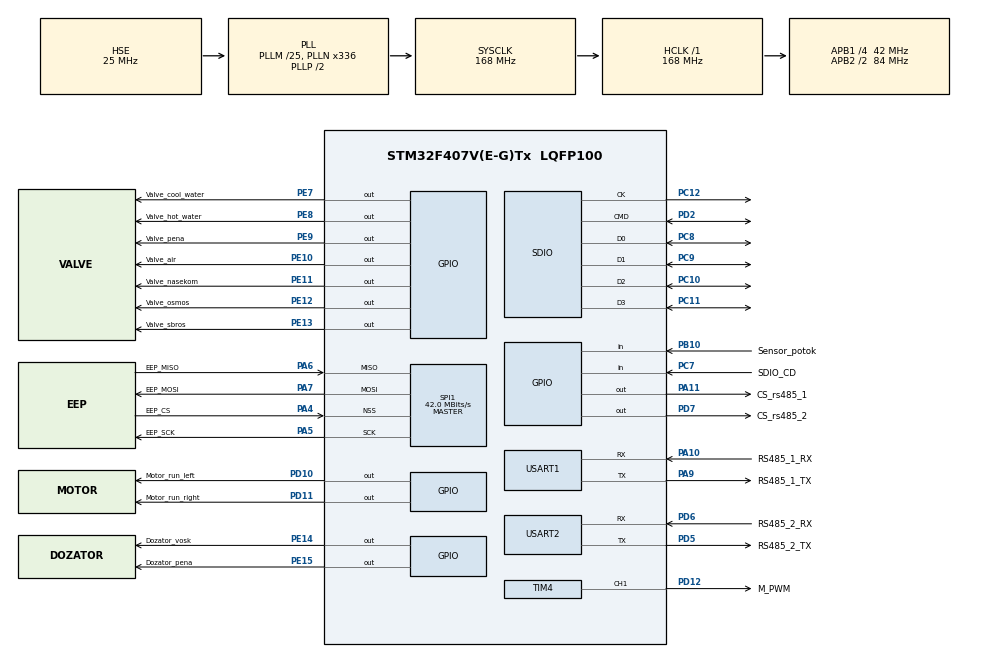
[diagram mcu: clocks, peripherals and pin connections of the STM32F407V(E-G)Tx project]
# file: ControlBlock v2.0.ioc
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FREERTOS.Tasks01=defaultTask,0,1280,MainThred,Default;myTask02,-3,1280,KompObmenThred,Default;myTask03,-3,1280,WorkFuncThred,Default
FREERTOS.configTOTAL_HEAP_SIZE=20000
Mcu.Family=STM32F4
Mcu.Name=STM32F407V(E-G)Tx
Mcu.Package=LQFP100
NVIC.PriorityGroup=NVIC_PRIORITYGROUP_4
NVIC.SDIO_IRQn=true\:5\:0\:false\:false\:true\:true
NVIC.SPI1_IRQn=true\:5\:0\:false\:false\:true\:true
NVIC.TIM6_DAC_IRQn=true\:0\:0\:false\:false\:true\:false
NVIC.TimeBase=TIM6_DAC_IRQn
NVIC.TimeBaseIP=TIM6
NVIC.USART1_IRQn=true\:5\:0\:false\:false\:true\:true
NVIC.USART2_IRQn=true\:5\:0\:false\:false\:true\:true
PA10.GPIO_Label=RS485_1_RX
PA10.Mode=Asynchronous
PA10.Signal=USART1_RX
PA11.GPIO_Label=CS_rs485_1
PA11.Signal=GPIO_Output
PA13.Mode=JTAG_5_pins
PA13.Signal=SYS_JTMS-SWDIO
PA14.Mode=JTAG_5_pins
PA14.Signal=SYS_JTCK-SWCLK
PA15.Mode=JTAG_5_pins
PA15.Signal=SYS_JTDI
PA4.GPIO_Label=EEP_CS
PA4.Mode=NSS_Signal_Hard_Input
PA4.Signal=SPI1_NSS
PA5.GPIO_Label=EEP_SCK
PA5.Mode=Full_Duplex_Master
PA5.Signal=SPI1_SCK
PA6.GPIO_Label=EEP_MISO
PA6.Mode=Full_Duplex_Master
PA6.Signal=SPI1_MISO
PA7.GPIO_Label=EEP_MOSI
PA7.Mode=Full_Duplex_Master
PA7.Signal=SPI1_MOSI
PA9.GPIO_Label=RS485_1_TX
PA9.Mode=Asynchronous
PA9.Signal=USART1_TX
PB10.GPIO_Label=Sensor_potok
PB10.Signal=GPIO_Input
PB3.Mode=JTAG_5_pins
PB3.Signal=SYS_JTDO-SWO
PB4.Mode=JTAG_5_pins
PB4.Signal=SYS_JTRST
PC10.Mode=SD_4_bits_Wide_bus
PC10.Signal=SDIO_D2
PC11.Mode=SD_4_bits_Wide_bus
PC11.Signal=SDIO_D3
PC12.Mode=SD_4_bits_Wide_bus
PC12.Signal=SDIO_CK
PC14-OSC32_IN.Mode=LSE-External-Oscillator
PC14-OSC32_IN.Signal=RCC_OSC32_IN
PC15-OSC32_OUT.Mode=LSE-External-Oscillator
PC15-OSC32_OUT.Signal=RCC_OSC32_OUT
PC7.GPIO_Label=SDIO_CD
PC7.Signal=GPIO_Input
PC8.Mode=SD_4_bits_Wide_bus
PC8.Signal=SDIO_D0
PC9.Mode=SD_4_bits_Wide_bus
PC9.Signal=SDIO_D1
PD10.GPIO_Label=Motor_run_left
PD10.Signal=GPIO_Output
PD11.GPIO_Label=Motor_run_right
PD11.Signal=GPIO_Output
PD12.GPIO_Label=M_PWM
PD12.Signal=S_TIM4_CH1
PD2.Mode=SD_4_bits_Wide_bus
PD2.Signal=SDIO_CMD
PD5.GPIO_Label=RS485_2_TX
PD5.Mode=Asynchronous
PD5.Signal=USART2_TX
PD6.GPIO_Label=RS485_2_RX
PD6.Mode=Asynchronous
PD6.Signal=USART2_RX
PD7.GPIO_Label=CS_rs485_2
PD7.Signal=GPIO_Output
PE10.GPIO_Label=Valve_air
PE10.Signal=GPIO_Output
PE11.GPIO_Label=Valve_nasekom
PE11.Signal=GPIO_Output
PE12.GPIO_Label=Valve_osmos
PE12.Signal=GPIO_Output
PE13.GPIO_Label=Valve_sbros
PE13.Signal=GPIO_Output
PE14.GPIO_Label=Dozator_vosk
PE14.Signal=GPIO_Output
PE15.GPIO_Label=Dozator_pena
PE15.Signal=GPIO_Output
PE7.GPIO_Label=Valve_cool_water
PE7.Signal=GPIO_Output
PE8.GPIO_Label=Valve_hot_water
PE8.Signal=GPIO_Output
PE9.GPIO_Label=Valve_pena
PE9.Signal=GPIO_Output
PH0-OSC_IN.Mode=HSE-External-Oscillator
PH0-OSC_IN.Signal=RCC_OSC_IN
PH1-OSC_OUT.Mode=HSE-External-Oscillator
PH1-OSC_OUT.Signal=RCC_OSC_OUT
ProjectManager.HeapSize=0x200
ProjectManager.StackSize=0x400
ProjectManager.TargetToolchain=MDK-ARM V5
RCC.48MHZClocksFreq_Value=48000000
RCC.AHBFreq_Value=168000000
RCC.APB1CLKDivider=RCC_HCLK_DIV4
RCC.APB1Freq_Value=42000000
RCC.APB1TimFreq_Value=84000000
RCC.APB2CLKDivider=RCC_HCLK_DIV2
RCC.APB2Freq_Value=84000000
RCC.APB2TimFreq_Value=168000000
RCC.CortexFreq_Value=168000000
RCC.HCLKFreq_Value=168000000
RCC.HSE_VALUE=25000000
RCC.HSI_VALUE=16000000
RCC.PLLM=25
RCC.PLLN=336
RCC.PLLQ=7
RCC.PLLSourceVirtual=RCC_PLLSOURCE_HSE
RCC.RCC_RTC_Clock_Source=RCC_RTCCLKSOURCE_LSE
RCC.SYSCLKFreq_VALUE=168000000
RCC.SYSCLKSource=RCC_SYSCLKSOURCE_PLLCLK
RCC.VCOOutputFreq_Value=336000000
SDIO.BusWide=SDIO_BUS_WIDE_1B
SDIO.WideMode=SDIO_BUS_WIDE_4B
SH.S_TIM4_CH1.0=TIM4_CH1,PWM Generation1 CH1
SPI1.BaudRatePrescaler=SPI_BAUDRATEPRESCALER_2
SPI1.CalculateBaudRate=42.0 MBits/s
SPI1.Mode=SPI_MODE_MASTER
SPI1.VirtualNSS=VM_NSSHARD
VP_FREERTOS_VS_ENABLE.Mode=Enabled
VP_RTC_VS_RTC_Activate.Mode=RTC_Enabled
VP_SYS_VS_tim6.Mode=TIM6
board=ControlBlock v2.0

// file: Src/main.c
/**
  ******************************************************************************
  * File Name          : main.c
  * Description        : Main program body
  ******************************************************************************
  *
  * Copyright (c) 2016 STMicroelectronics International N.V.
  * All rights reserved.
  *
  * Redistribution and use in source and binary forms, with or without
  * modification, are permitted, provided that the following conditions are met:
  *
  * 1. Redistribution of source code must retain the above copyright notice,
  *    this list of conditions and the following disclaimer.
  * 2. Redistributions in binary form must reproduce the above copyright notice,
  *    this list of conditions and the following disclaimer in the documentation
  *    and/or other materials provided with the distribution.
  * 3. Neither the name of STMicroelectronics nor the names of other
  *    contributors to this software may be used to endorse or promote products
  *    derived from this software without specific written permission.
  * 4. This software, including modifications and/or derivative works of this
  *    software, must execute solely and exclusively on microcontroller or
  *    microprocessor devices manufactured by or for STMicroelectronics.
  * 5. Redistribution and use of this software other than as permitted under
  *    this license is void and will automatically terminate your rights under
  *    this license.
  *
  * THIS SOFTWARE IS PROVIDED BY STMICROELECTRONICS AND CONTRIBUTORS "AS IS"
  * AND ANY EXPRESS, IMPLIED OR STATUTORY WARRANTIES, INCLUDING, BUT NOT
  * LIMITED TO, THE IMPLIED WARRANTIES OF MERCHANTABILITY, FITNESS FOR A
  * PARTICULAR PURPOSE AND NON-INFRINGEMENT OF THIRD PARTY INTELLECTUAL PROPERTY
  * RIGHTS ARE DISCLAIMED TO THE FULLEST EXTENT PERMITTED BY LAW. IN NO EVENT
  * SHALL STMICROELECTRONICS OR CONTRIBUTORS BE LIABLE FOR ANY DIRECT, INDIRECT,
  * INCIDENTAL, SPECIAL, EXEMPLARY, OR CONSEQUENTIAL DAMAGES (INCLUDING, BUT NOT
  * LIMITED TO, PROCUREMENT OF SUBSTITUTE GOODS OR SERVICES; LOSS OF USE, DATA,
  * OR PROFITS; OR BUSINESS INTERRUPTION) HOWEVER CAUSED AND ON ANY THEORY OF
  * LIABILITY, WHETHER IN CONTRACT, STRICT LIABILITY, OR TORT (INCLUDING
  * NEGLIGENCE OR OTHERWISE) ARISING IN ANY WAY OUT OF THE USE OF THIS SOFTWARE,
  * EVEN IF ADVISED OF THE POSSIBILITY OF SUCH DAMAGE.
  *
  ******************************************************************************
  */
#include "main.h"
#include "stm32f4xx_hal.h"
#include "cmsis_os.h"
#include "rtc.h"
#include "sdio.h"
#include "spi.h"
#include "tim.h"
#include "usart.h"
#include "gpio.h"

/* USER CODE BEGIN PV */
/* Private variables ---------------------------------------------------------*/

/* USER CODE END PV */

void SystemClock_Config(void);
void Error_Handler(void);
void MX_FREERTOS_Init(void);

/* USER CODE BEGIN PFP */
/* Private function prototypes -----------------------------------------------*/

/* USER CODE END PFP */

int main(void)
{

  /* MCU Configuration----------------------------------------------------------*/

  /* Reset of all peripherals, Initializes the Flash interface and the Systick. */
  HAL_Init();

  /* Configure the system clock */
  SystemClock_Config();

  /* Initialize all configured peripherals */
  MX_GPIO_Init();
  MX_SDIO_SD_Init();
  MX_SPI1_Init();
  MX_TIM4_Init();
  MX_USART1_UART_Init();
  MX_USART2_UART_Init();
  MX_RTC_Init();

  /* Call init function for freertos objects (in freertos.c) */
  MX_FREERTOS_Init();

  /* Start scheduler */
  osKernelStart();

  /* We should never get here as control is now taken by the scheduler */

  /* Infinite loop */
  while (1)
  {

  }

}

/** System Clock Configuration
*/
void SystemClock_Config(void)
{

  RCC_OscInitTypeDef RCC_OscInitStruct;
  RCC_ClkInitTypeDef RCC_ClkInitStruct;
  RCC_PeriphCLKInitTypeDef PeriphClkInitStruct;

    /**Configure the main internal regulator output voltage
    */
  __HAL_RCC_PWR_CLK_ENABLE();

  __HAL_PWR_VOLTAGESCALING_CONFIG(PWR_REGULATOR_VOLTAGE_SCALE1);

    /**Initializes the CPU, AHB and APB busses clocks
    */
  RCC_OscInitStruct.OscillatorType = RCC_OSCILLATORTYPE_HSE|RCC_OSCILLATORTYPE_LSE;
  RCC_OscInitStruct.HSEState = RCC_HSE_ON;
  RCC_OscInitStruct.LSEState = RCC_LSE_ON;
  RCC_OscInitStruct.PLL.PLLState = RCC_PLL_ON;
  RCC_OscInitStruct.PLL.PLLSource = RCC_PLLSOURCE_HSE;
  RCC_OscInitStruct.PLL.PLLM = 25;
  RCC_OscInitStruct.PLL.PLLN = 336;
  RCC_OscInitStruct.PLL.PLLP = RCC_PLLP_DIV2;
  RCC_OscInitStruct.PLL.PLLQ = 7;
  if (HAL_RCC_OscConfig(&RCC_OscInitStruct) != HAL_OK)
  {
    Error_Handler();
  }

    /**Initializes the CPU, AHB and APB busses clocks
    */
  RCC_ClkInitStruct.ClockType = RCC_CLOCKTYPE_HCLK|RCC_CLOCKTYPE_SYSCLK
                              |RCC_CLOCKTYPE_PCLK1|RCC_CLOCKTYPE_PCLK2;
  RCC_ClkInitStruct.SYSCLKSource = RCC_SYSCLKSOURCE_PLLCLK;
  RCC_ClkInitStruct.AHBCLKDivider = RCC_SYSCLK_DIV1;
  RCC_ClkInitStruct.APB1CLKDivider = RCC_HCLK_DIV4;
  RCC_ClkInitStruct.APB2CLKDivider = RCC_HCLK_DIV2;

  if (HAL_RCC_ClockConfig(&RCC_ClkInitStruct, FLASH_LATENCY_5) != HAL_OK)
  {
    Error_Handler();
  }

  PeriphClkInitStruct.PeriphClockSelection = RCC_PERIPHCLK_RTC;
  PeriphClkInitStruct.RTCClockSelection = RCC_RTCCLKSOURCE_LSE;
  if (HAL_RCCEx_PeriphCLKConfig(&PeriphClkInitStruct) != HAL_OK)
  {
    Error_Handler();
  }

    /**Configure the Systick interrupt time
    */
  HAL_SYSTICK_Config(HAL_RCC_GetHCLKFreq()/1000);

    /**Configure the Systick
    */
  HAL_SYSTICK_CLKSourceConfig(SYSTICK_CLKSOURCE_HCLK);

  /* SysTick_IRQn interrupt configuration */
  HAL_NVIC_SetPriority(SysTick_IRQn, 15, 0);
}

void HAL_TIM_PeriodElapsedCallback(TIM_HandleTypeDef *htim)
{
  if (htim->Instance == TIM6) {
    HAL_IncTick();
  }
}

void Error_Handler(void)
{
  while(1)
  {
  }
}

/************************ (C) COPYRIGHT STMicroelectronics *****END OF FILE****/

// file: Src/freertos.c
/**
  ******************************************************************************
  * File Name          : freertos.c
  * Description        : Code for freertos applications
  ******************************************************************************
  *
  * Copyright (c) 2016 STMicroelectronics International N.V.
  * All rights reserved.
  *
  * Redistribution and use in source and binary forms, with or without
  * modification, are permitted, provided that the following conditions are met:
  *
  * 1. Redistribution of source code must retain the above copyright notice,
  *    this list of conditions and the following disclaimer.
  * 2. Redistributions in binary form must reproduce the above copyright notice,
  *    this list of conditions and the following disclaimer in the documentation
  *    and/or other materials provided with the distribution.
  * 3. Neither the name of STMicroelectronics nor the names of other
  *    contributors to this software may be used to endorse or promote products
  *    derived from this software without specific written permission.
  * 4. This software, including modifications and/or derivative works of this
  *    software, must execute solely and exclusively on microcontroller or
  *    microprocessor devices manufactured by or for STMicroelectronics.
  * 5. Redistribution and use of this software other than as permitted under
  *    this license is void and will automatically terminate your rights under
  *    this license.
  *
  * THIS SOFTWARE IS PROVIDED BY STMICROELECTRONICS AND CONTRIBUTORS "AS IS"
  * AND ANY EXPRESS, IMPLIED OR STATUTORY WARRANTIES, INCLUDING, BUT NOT
  * LIMITED TO, THE IMPLIED WARRANTIES OF MERCHANTABILITY, FITNESS FOR A
  * PARTICULAR PURPOSE AND NON-INFRINGEMENT OF THIRD PARTY INTELLECTUAL PROPERTY
  * RIGHTS ARE DISCLAIMED TO THE FULLEST EXTENT PERMITTED BY LAW. IN NO EVENT
  * SHALL STMICROELECTRONICS OR CONTRIBUTORS BE LIABLE FOR ANY DIRECT, INDIRECT,
  * INCIDENTAL, SPECIAL, EXEMPLARY, OR CONSEQUENTIAL DAMAGES (INCLUDING, BUT NOT
  * LIMITED TO, PROCUREMENT OF SUBSTITUTE GOODS OR SERVICES; LOSS OF USE, DATA,
  * OR PROFITS; OR BUSINESS INTERRUPTION) HOWEVER CAUSED AND ON ANY THEORY OF
  * LIABILITY, WHETHER IN CONTRACT, STRICT LIABILITY, OR TORT (INCLUDING
  * NEGLIGENCE OR OTHERWISE) ARISING IN ANY WAY OUT OF THE USE OF THIS SOFTWARE,
  * EVEN IF ADVISED OF THE POSSIBILITY OF SUCH DAMAGE.
  *
  ******************************************************************************
  */

#include "FreeRTOS.h"
#include "task.h"
#include "cmsis_os.h"

/* USER CODE BEGIN Includes */
#include "stm32f4xx_hal.h"
#include "usart.h"
#include "workfunction.h"
#include "crc.h"
#include "kompobmen.h"
/* USER CODE END Includes */

osThreadId defaultTaskHandle;
osThreadId myTask02Handle;
osThreadId myTask03Handle;

/* USER CODE BEGIN Variables */
extern uint8_t addrMaster;
extern uint8_t addrSlave;

volatile uint8_t rxDataCount1 = 0;
volatile uint8_t rxDataCount2 = 0;
uint8_t rxDataUsart2[255];
uint8_t txDataUsart2[255];
/* USER CODE END Variables */

void MainThred(void const * argument);
void KompObmenThred(void const * argument);
void WorkFuncThred(void const * argument);

void MX_FREERTOS_Init(void); /* (MISRA C 2004 rule 8.1) */

/* USER CODE BEGIN FunctionPrototypes */
void ClearArray(UART_HandleTypeDef *huart, uint8_t *data, uint8_t len);
uint8_t CompareDate(uint8_t *Buf);//функция сравнения CRC
/* USER CODE END FunctionPrototypes */

/* Hook prototypes */

/* Init FreeRTOS */

void MX_FREERTOS_Init(void)
{

  /* Create the thread(s) */
  /* definition and creation of defaultTask */
  osThreadDef(defaultTask, MainThred, osPriorityNormal, 0, 1280);
  defaultTaskHandle = osThreadCreate(osThread(defaultTask), NULL);

  /* definition and creation of myTask02 */
  osThreadDef(myTask02, KompObmenThred, osPriorityIdle, 0, 1280);
  myTask02Handle = osThreadCreate(osThread(myTask02), NULL);

  /* definition and creation of myTask03 */
  osThreadDef(myTask03, WorkFuncThred, osPriorityIdle, 0, 1280);
  myTask03Handle = osThreadCreate(osThread(myTask03), NULL);

}

/* MainThred function */
void MainThred(void const * argument)
{

  while(1)
  {
    osDelay(1);
  }
}

/* KompObmenThred function */
void KompObmenThred(void const * argument)
{
  /* USER CODE BEGIN KompObmenThred */
    HAL_UART_Receive_IT(&huart2, rxDataUsart2, 100);
  /* Infinite loop */
  while(1)
  {
      if((rxDataUsart2[1] != 0) &&
      (rxDataUsart2[0] == addrSlave) &&
      (rxDataCount2 == rxDataUsart2[3]))
      {
          if(CompareDate(rxDataUsart2) == 1)
          {
              switch(rxDataUsart2[2])
              {
                  case TEST:    //тестовый запрос проверки связи
                        ValveAir(GPIO_PIN_SET);
                        CmdTest();
                        ValveAir(GPIO_PIN_RESET);
                      break;
                  case GET_ID_DEVICE: //запрос UID устройства
                        CmdGetUidDevice();
                      break;
                  case GET_VERSION_SOFT: //запрос версии ПО
                      CmdGetVersionSoft();
                      break;
                  case TEST_MEHANIZM: //включение исполнительных механизмов
                      TestMehanizm();
                      break;
              }
              ClearArray(&huart2, rxDataUsart2, 10);
          }
      }
    osDelay(1);
  }
  /* USER CODE END KompObmenThred */
}

/* WorkFuncThred function */
void WorkFuncThred(void const * argument)
{
  while(1)
  {
    osDelay(1);
  }
}

/* USER CODE BEGIN Application */
/*########################################*/
/*########################################*/
/*########################################*/
/*########################################*/
/*########################################*/
/*########################################*/
/*########################################*/
void ClearArray(UART_HandleTypeDef *huart, uint8_t *data, uint8_t len)
{
    uint16_t i;

    for(i = 0;i < len;i++)
    {
        data[i] = 0x00;
    }

    rxDataCount2 = 0;
    huart->RxXferCount = 0xff;
    huart->RxXferSize = 0xff;
    huart->pRxBuffPtr = data;
}
/*########################################*/
uint8_t CompareDate(uint8_t *Buf)//функция сравнения CRC
{
	uint32_t Compare7 = 0;
	uint8_t i = 0;
	uint8_t a[2];
	uint8_t b[2];
	uint8_t Dostup = 0;
	if (Buf[3] > 4)
	{
		Compare7 = crc16(Buf, Buf[3] - 2);
        //Compare7 = GetCRC16(rxDataUsart2, rxDataUsart2[3]);
        //Compare7 = crc_16_rec(rxDataUsart2, rxDataUsart2[3]);

		a[0] = Compare7 >> 8;
		a[1] = Compare7;

		i = Buf[3];
		i = i - 1;
		b[1] = Buf[i];
		i = i - 1;
		b[0] = Buf[i];

		if ((a[0] == b[0]) && (a[1] == b[1]))//сравниваем CRC16 преобразованный и полученые результаты
		{
			Dostup = 1;  //если все сошлось рарешаем доступ на обработку полученых данных
		}
	}
	return Dostup;
}
/* USER CODE END Application */

/************************ (C) COPYRIGHT STMicroelectronics *****END OF FILE****/
